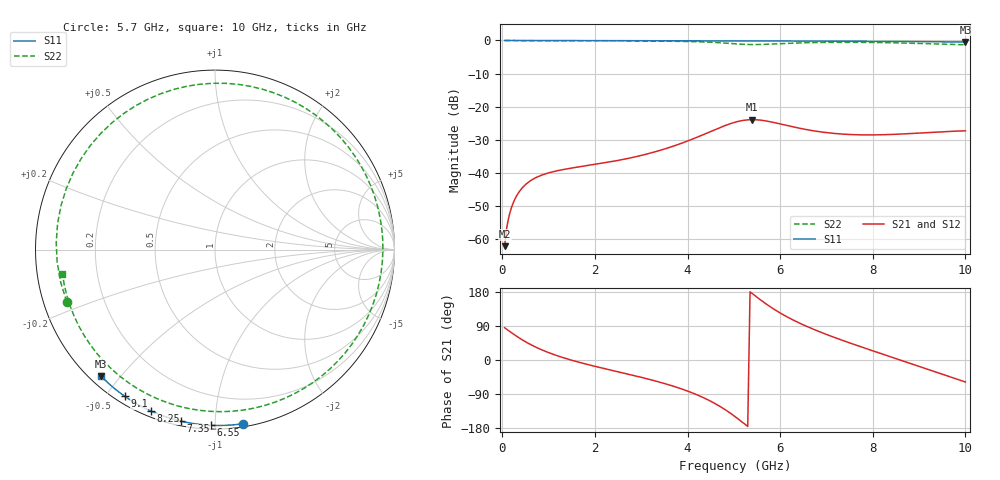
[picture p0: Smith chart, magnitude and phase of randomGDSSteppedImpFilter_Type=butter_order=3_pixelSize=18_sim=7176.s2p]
! freq	dB(S11)	phase(S11)	dB(S12)	phase(S12)
!  dB(S21)	phase(S21)	dB(S22)	phase(S22)
!S-par simulation data
#  GHz  S  DB  R 50
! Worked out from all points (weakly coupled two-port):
!   200 points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, 50 MHz to 10 GHz, reference 50 ohm
!   highest |S21| = -23.89 dB at 5.4 GHz (marker M1); lowest = -62.1 dB at 50 MHz (marker M2)
!   lowest |S11| = -0.5 dB at 10 GHz (marker M3), VSWR 37.75, Z = 1.59 - j22.2 ohm
!   |S11| at or under -10 dB: nowhere
!   |S22| runs from -1.3 to 0.0 dB; largest |S21 - S12| = 0
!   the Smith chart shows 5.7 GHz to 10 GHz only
!   S11 on the Smith chart (normalised r, x): 5.7 GHz: 0.02, -1.18; 6.55 GHz: 0.02, -0.98; 7.35 GHz: 0.02, -0.82; 8.25 GHz: 0.02, -0.68; 9.1 GHz: 0.03, -0.56; 10 GHz: 0.03, -0.44
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0.05  -0.00 -0.8  -62.05 85.2  -62.05 85.2  -0.01 -8.4
0.15  -0.00 -2.3  -52.69 76.2  -52.69 76.2  -0.03 -24.9
0.25  -0.01 -3.8  -48.51 67.6  -48.51 67.6  -0.06 -40.7
0.6  -0.01 -9.1  -42.39 41.5  -42.39 41.5  -0.09 -87.9
1.1  -0.02 -16.6  -39.58 15.0  -39.58 15.0  -0.11 -134.3
1.75  -0.03 -26.3  -37.93 -9.0  -37.93 -9.0  -0.11 -174.2
2.55  -0.05 -37.9  -36.05 -32.6  -36.05 -32.6  -0.13 147.5
3.4  -0.07 -50.0  -33.18 -58.5  -33.18 -58.5  -0.19 106.2
4.25  -0.09 -61.8  -28.94 -94.3  -28.94 -94.3  -0.40 49.6
4.7  -0.11 -67.8  -26.29 -122.5  -26.29 -122.5  -0.70 2.6
5.05  -0.13 -72.4  -24.57 -151.5  -24.57 -151.5  -1.04 -48.7
5.4  -0.15 -76.9  -23.89 175.1  -23.89 175.1  -1.24 -110.2
5.7  -0.15 -80.7  -24.29 147.6  -24.29 147.6  -1.15 -160.5
6.05  -0.16 -85.1  -25.33 120.6  -25.33 120.6  -0.93 151.6
6.55  -0.18 -91.4  -26.84 90.0  -26.84 90.0  -0.69 99.6
6.7  -0.19 -93.2  -27.21 82.1  -27.21 82.1  -0.65 86.3
7.35  -0.22 -101.1  -28.25 51.6  -28.25 51.6  -0.56 33.8
7.8  -0.25 -106.5  -28.49 32.5  -28.49 32.5  -0.58 -0.5
8.25  -0.29 -111.8  -28.43 14.0  -28.43 14.0  -0.66 -34.5
8.35  -0.30 -113.0  -28.38 9.9  -28.38 9.9  -0.68 -42.1
9.1  -0.36 -121.7  -27.86 -20.8  -27.86 -20.8  -0.94 -99.4
10  -0.46 -132.1  -27.26 -58.0  -27.26 -58.0  -1.30 -170.8
